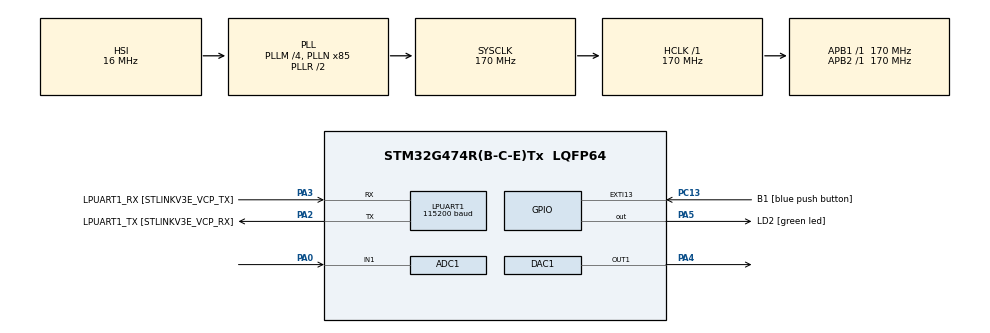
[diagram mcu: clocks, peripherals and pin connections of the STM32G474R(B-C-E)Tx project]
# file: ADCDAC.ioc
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ADC1.Channel-0\#ChannelRegularConversion=ADC_CHANNEL_1
ADC1.NbrOfConversionFlag=1
ADC1.OffsetNumber-0\#ChannelRegularConversion=ADC_OFFSET_NONE
ADC1.Rank-0\#ChannelRegularConversion=1
ADC1.SamplingTime-0\#ChannelRegularConversion=ADC_SAMPLETIME_2CYCLES_5
ADC1.master=1
LPUART1.BaudRate=115200
LPUART1.WordLength=UART_WORDLENGTH_8B
Mcu.Family=STM32G4
Mcu.Name=STM32G474R(B-C-E)Tx
Mcu.Package=LQFP64
NVIC.EXTI15_10_IRQn=true\:0\:0\:false\:false\:true\:true\:true\:true
NVIC.PriorityGroup=NVIC_PRIORITYGROUP_4
PA0.Mode=IN1-Single-Ended
PA0.Signal=ADC1_IN1
PA13.GPIO_Label=T_SWDIO
PA13.Mode=Serial_Wire
PA13.Signal=SYS_JTMS-SWDIO
PA14.GPIO_Label=T_SWCLK
PA14.Mode=Serial_Wire
PA14.Signal=SYS_JTCK-SWCLK
PA2.GPIO_Label=LPUART1_TX [STLINKV3E_VCP_RX]
PA2.Mode=Asynchronous
PA2.Signal=LPUART1_TX
PA3.GPIO_Label=LPUART1_RX [STLINKV3E_VCP_TX]
PA3.Mode=Asynchronous
PA3.Signal=LPUART1_RX
PA4.Signal=COMP_DAC11_group
PA5.GPIO_Label=LD2 [green led]
PA5.Signal=GPIO_Output
PB3.GPIO_Label=T_SWO
PB3.Signal=SYS_JTDO-SWO
PC13.GPIO_Label=B1 [blue push button]
PC13.Signal=GPXTI13
PC14-OSC32_IN.Mode=LSE-External-Oscillator
PC14-OSC32_IN.Signal=RCC_OSC32_IN
PC15-OSC32_OUT.Mode=LSE-External-Oscillator
PC15-OSC32_OUT.Signal=RCC_OSC32_OUT
PF0-OSC_IN.Mode=HSE-External-Oscillator
PF0-OSC_IN.Signal=RCC_OSC_IN
PF1-OSC_OUT.Mode=HSE-External-Oscillator
PF1-OSC_OUT.Signal=RCC_OSC_OUT
ProjectManager.HeapSize=0x200
ProjectManager.StackSize=0x400
ProjectManager.TargetToolchain=STM32CubeIDE
RCC.ADC12Freq_Value=170000000
RCC.ADC345Freq_Value=170000000
RCC.AHBFreq_Value=170000000
RCC.APB1Freq_Value=170000000
RCC.APB1TimFreq_Value=170000000
RCC.APB2Freq_Value=170000000
RCC.APB2TimFreq_Value=170000000
RCC.CortexFreq_Value=170000000
RCC.EXTERNAL_CLOCK_VALUE=12288000
RCC.HCLKFreq_Value=170000000
RCC.HSE_VALUE=24000000
RCC.HSI48_VALUE=48000000
RCC.HSI_VALUE=16000000
RCC.PLLM=RCC_PLLM_DIV4
RCC.PLLN=85
RCC.RTCClockSelection=RCC_RTCCLKSOURCE_LSE
RCC.SYSCLKFreq_VALUE=170000000
RCC.SYSCLKSource=RCC_SYSCLKSOURCE_PLLCLK
RCC.USBFreq_Value=170000000
RCC.VCOOutputFreq_Value=340000000
SH.COMP_DAC11_group.0=DAC1_OUT1,DAC_OUT1
VP_SYS_VS_DBSignals.Mode=DisableDeadBatterySignals
board=NUCLEO-G474RE

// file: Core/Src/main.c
/* USER CODE BEGIN Header */
/**
  ******************************************************************************
  * @file           : main.c
  * @brief          : Main program body
  ******************************************************************************
  * @attention
  *
  * Copyright (c) 2023 STMicroelectronics.
  * All rights reserved.
  *
  * This software is licensed under terms that can be found in the LICENSE file
  * in the root directory of this software component.
  * If no LICENSE file comes with this software, it is provided AS-IS.
  *
  ******************************************************************************
  */
/* USER CODE END Header */
#include "main.h"

ADC_HandleTypeDef hadc1;

DAC_HandleTypeDef hdac1;

UART_HandleTypeDef hlpuart1;

/* USER CODE BEGIN PV */
//ADC
struct _ADC_tag
{
	ADC_ChannelConfTypeDef Config;
	uint16_t data;
};

struct _ADC_tag ADC1_Channel =
{
	.Config.Channel = ADC_CHANNEL_1,
	.Config.Rank = ADC_REGULAR_RANK_1,
	.Config.SamplingTime = ADC_SAMPLETIME_640CYCLES_5,
	.Config.SingleDiff = ADC_SINGLE_ENDED,
	.Config.OffsetNumber = ADC_OFFSET_NONE,
	.Config.Offset = 0,
	.data = 0
};

uint16_t TenBit = 0;
float mVUnit = 0;

//DAC
uint16_t DAC_Output = 0;
uint16_t prev_DAC = 0;
float DAC_Input_mV = 0;
uint16_t pressed = 0;
//uint16_t ACD_Input = 0;
//uint16_t DAC_Output = 0;
/* USER CODE END PV */

void SystemClock_Config(void);
static void MX_GPIO_Init(void);
static void MX_LPUART1_UART_Init(void);
static void MX_ADC1_Init(void);
static void MX_DAC1_Init(void);
/* USER CODE BEGIN PFP */
void ADC_Read_blocking();
void DAC_Update();

/* USER CODE END PFP */

int main(void)
{

  /* MCU Configuration--------------------------------------------------------*/

  /* Reset of all peripherals, Initializes the Flash interface and the Systick. */
  HAL_Init();

  /* Configure the system clock */
  SystemClock_Config();

  /* Initialize all configured peripherals */
  MX_GPIO_Init();
  MX_LPUART1_UART_Init();
  MX_ADC1_Init();
  MX_DAC1_Init();
  /* USER CODE BEGIN 2 */
  HAL_ADCEx_Calibration_Start(&hadc1, ADC_SINGLE_ENDED);
  HAL_DAC_SetValue(&hdac1, DAC_CHANNEL_1, DAC_ALIGN_12B_R, 2048);
  HAL_DAC_Start(&hdac1, DAC_CHANNEL_1);

  /* USER CODE END 2 */

  /* Infinite loop */
  while (1)
  {

    /* USER CODE BEGIN 3 */

	  ADC_Read_blocking();
	  DAC_Update();
	  }
  /* USER CODE END 3 */
}

void SystemClock_Config(void)
{
  RCC_OscInitTypeDef RCC_OscInitStruct = {0};
  RCC_ClkInitTypeDef RCC_ClkInitStruct = {0};

  /** Configure the main internal regulator output voltage
  */
  HAL_PWREx_ControlVoltageScaling(PWR_REGULATOR_VOLTAGE_SCALE1_BOOST);

  /** Initializes the RCC Oscillators according to the specified parameters
  * in the RCC_OscInitTypeDef structure.
  */
  RCC_OscInitStruct.OscillatorType = RCC_OSCILLATORTYPE_HSI;
  RCC_OscInitStruct.HSIState = RCC_HSI_ON;
  RCC_OscInitStruct.HSICalibrationValue = RCC_HSICALIBRATION_DEFAULT;
  RCC_OscInitStruct.PLL.PLLState = RCC_PLL_ON;
  RCC_OscInitStruct.PLL.PLLSource = RCC_PLLSOURCE_HSI;
  RCC_OscInitStruct.PLL.PLLM = RCC_PLLM_DIV4;
  RCC_OscInitStruct.PLL.PLLN = 85;
  RCC_OscInitStruct.PLL.PLLP = RCC_PLLP_DIV2;
  RCC_OscInitStruct.PLL.PLLQ = RCC_PLLQ_DIV2;
  RCC_OscInitStruct.PLL.PLLR = RCC_PLLR_DIV2;
  if (HAL_RCC_OscConfig(&RCC_OscInitStruct) != HAL_OK)
  {
    Error_Handler();
  }

  /** Initializes the CPU, AHB and APB buses clocks
  */
  RCC_ClkInitStruct.ClockType = RCC_CLOCKTYPE_HCLK|RCC_CLOCKTYPE_SYSCLK
                              |RCC_CLOCKTYPE_PCLK1|RCC_CLOCKTYPE_PCLK2;
  RCC_ClkInitStruct.SYSCLKSource = RCC_SYSCLKSOURCE_PLLCLK;
  RCC_ClkInitStruct.AHBCLKDivider = RCC_SYSCLK_DIV1;
  RCC_ClkInitStruct.APB1CLKDivider = RCC_HCLK_DIV1;
  RCC_ClkInitStruct.APB2CLKDivider = RCC_HCLK_DIV1;

  if (HAL_RCC_ClockConfig(&RCC_ClkInitStruct, FLASH_LATENCY_4) != HAL_OK)
  {
    Error_Handler();
  }
}

static void MX_ADC1_Init(void)
{

  ADC_MultiModeTypeDef multimode = {0};
  ADC_ChannelConfTypeDef sConfig = {0};

  /** Common config
  */
  hadc1.Instance = ADC1;
  hadc1.Init.ClockPrescaler = ADC_CLOCK_SYNC_PCLK_DIV4;
  hadc1.Init.Resolution = ADC_RESOLUTION_12B;
  hadc1.Init.DataAlign = ADC_DATAALIGN_RIGHT;
  hadc1.Init.GainCompensation = 0;
  hadc1.Init.ScanConvMode = ADC_SCAN_DISABLE;
  hadc1.Init.EOCSelection = ADC_EOC_SINGLE_CONV;
  hadc1.Init.LowPowerAutoWait = DISABLE;
  hadc1.Init.ContinuousConvMode = DISABLE;
  hadc1.Init.NbrOfConversion = 1;
  hadc1.Init.DiscontinuousConvMode = DISABLE;
  hadc1.Init.ExternalTrigConv = ADC_SOFTWARE_START;
  hadc1.Init.ExternalTrigConvEdge = ADC_EXTERNALTRIGCONVEDGE_NONE;
  hadc1.Init.DMAContinuousRequests = DISABLE;
  hadc1.Init.Overrun = ADC_OVR_DATA_PRESERVED;
  hadc1.Init.OversamplingMode = DISABLE;
  if (HAL_ADC_Init(&hadc1) != HAL_OK)
  {
    Error_Handler();
  }

  /** Configure the ADC multi-mode
  */
  multimode.Mode = ADC_MODE_INDEPENDENT;
  if (HAL_ADCEx_MultiModeConfigChannel(&hadc1, &multimode) != HAL_OK)
  {
    Error_Handler();
  }

  /** Configure Regular Channel
  */
  sConfig.Channel = ADC_CHANNEL_1;
  sConfig.Rank = ADC_REGULAR_RANK_1;
  sConfig.SamplingTime = ADC_SAMPLETIME_2CYCLES_5;
  sConfig.SingleDiff = ADC_SINGLE_ENDED;
  sConfig.OffsetNumber = ADC_OFFSET_NONE;
  sConfig.Offset = 0;
  if (HAL_ADC_ConfigChannel(&hadc1, &sConfig) != HAL_OK)
  {
    Error_Handler();
  }

}

static void MX_DAC1_Init(void)
{

  DAC_ChannelConfTypeDef sConfig = {0};

  /** DAC Initialization
  */
  hdac1.Instance = DAC1;
  if (HAL_DAC_Init(&hdac1) != HAL_OK)
  {
    Error_Handler();
  }

  /** DAC channel OUT1 config
  */
  sConfig.DAC_HighFrequency = DAC_HIGH_FREQUENCY_INTERFACE_MODE_AUTOMATIC;
  sConfig.DAC_DMADoubleDataMode = DISABLE;
  sConfig.DAC_SignedFormat = DISABLE;
  sConfig.DAC_SampleAndHold = DAC_SAMPLEANDHOLD_DISABLE;
  sConfig.DAC_Trigger = DAC_TRIGGER_NONE;
  sConfig.DAC_Trigger2 = DAC_TRIGGER_NONE;
  sConfig.DAC_OutputBuffer = DAC_OUTPUTBUFFER_ENABLE;
  sConfig.DAC_ConnectOnChipPeripheral = DAC_CHIPCONNECT_EXTERNAL;
  sConfig.DAC_UserTrimming = DAC_TRIMMING_FACTORY;
  if (HAL_DAC_ConfigChannel(&hdac1, &sConfig, DAC_CHANNEL_1) != HAL_OK)
  {
    Error_Handler();
  }

}

static void MX_LPUART1_UART_Init(void)
{

  hlpuart1.Instance = LPUART1;
  hlpuart1.Init.BaudRate = 115200;
  hlpuart1.Init.WordLength = UART_WORDLENGTH_8B;
  hlpuart1.Init.StopBits = UART_STOPBITS_1;
  hlpuart1.Init.Parity = UART_PARITY_NONE;
  hlpuart1.Init.Mode = UART_MODE_TX_RX;
  hlpuart1.Init.HwFlowCtl = UART_HWCONTROL_NONE;
  hlpuart1.Init.OneBitSampling = UART_ONE_BIT_SAMPLE_DISABLE;
  hlpuart1.Init.ClockPrescaler = UART_PRESCALER_DIV1;
  hlpuart1.AdvancedInit.AdvFeatureInit = UART_ADVFEATURE_NO_INIT;
  if (HAL_UART_Init(&hlpuart1) != HAL_OK)
  {
    Error_Handler();
  }
  if (HAL_UARTEx_SetTxFifoThreshold(&hlpuart1, UART_TXFIFO_THRESHOLD_1_8) != HAL_OK)
  {
    Error_Handler();
  }
  if (HAL_UARTEx_SetRxFifoThreshold(&hlpuart1, UART_RXFIFO_THRESHOLD_1_8) != HAL_OK)
  {
    Error_Handler();
  }
  if (HAL_UARTEx_DisableFifoMode(&hlpuart1) != HAL_OK)
  {
    Error_Handler();
  }

}

static void MX_GPIO_Init(void)
{
  GPIO_InitTypeDef GPIO_InitStruct = {0};

  /* GPIO Ports Clock Enable */
  __HAL_RCC_GPIOC_CLK_ENABLE();
  __HAL_RCC_GPIOF_CLK_ENABLE();
  __HAL_RCC_GPIOA_CLK_ENABLE();
  __HAL_RCC_GPIOB_CLK_ENABLE();

  /*Configure GPIO pin Output Level */
  HAL_GPIO_WritePin(LD2_GPIO_Port, LD2_Pin, GPIO_PIN_RESET);

  /*Configure GPIO pin : B1_Pin */
  GPIO_InitStruct.Pin = B1_Pin;
  GPIO_InitStruct.Mode = GPIO_MODE_IT_RISING;
  GPIO_InitStruct.Pull = GPIO_NOPULL;
  HAL_GPIO_Init(B1_GPIO_Port, &GPIO_InitStruct);

  /*Configure GPIO pin : LD2_Pin */
  GPIO_InitStruct.Pin = LD2_Pin;
  GPIO_InitStruct.Mode = GPIO_MODE_OUTPUT_PP;
  GPIO_InitStruct.Pull = GPIO_NOPULL;
  GPIO_InitStruct.Speed = GPIO_SPEED_FREQ_LOW;
  HAL_GPIO_Init(LD2_GPIO_Port, &GPIO_InitStruct);

  /* EXTI interrupt init*/
  HAL_NVIC_SetPriority(EXTI15_10_IRQn, 0, 0);
  HAL_NVIC_EnableIRQ(EXTI15_10_IRQn);

}

/* USER CODE BEGIN 4 */
void ADC_Read_blocking()
{
	static uint32_t TimeStamp = 0;
	if( HAL_GetTick()<TimeStamp) return;
	TimeStamp = HAL_GetTick()+500;

	HAL_ADC_ConfigChannel(&hadc1, &ADC1_Channel.Config);
	HAL_ADC_Start(&hadc1);
	HAL_ADC_PollForConversion(&hadc1, 100);
	ADC1_Channel.data = HAL_ADC_GetValue(&hadc1);
	TenBit = (ADC1_Channel.data)*1024/4096;
	mVUnit = (ADC1_Channel.data)*3300/4096;

	HAL_ADC_Stop(&hadc1);
}

void DAC_Update()
{
	static uint32_t timeStamp =0;
	if(HAL_GetTick()>timeStamp)
	{
	timeStamp = HAL_GetTick()+750;
	pressed = HAL_GPIO_ReadPin(GPIOC, GPIO_PIN_13);

	//DAC_Output =  (DAC_Input_mV/3300)*4095;	//mV

	if (pressed == 1) {
		DAC_Output = (HAL_ADC_GetValue(&hadc1))*3300/4096;;
		prev_DAC = DAC_Output;

	} else {
		DAC_Output = prev_DAC;
	}
	HAL_DAC_SetValue(&hdac1, DAC_CHANNEL_1, DAC_ALIGN_12B_R, DAC_Output);

	}
}
/* USER CODE END 4 */

void Error_Handler(void)
{
  __disable_irq();
  while (1)
  {
  }
}
